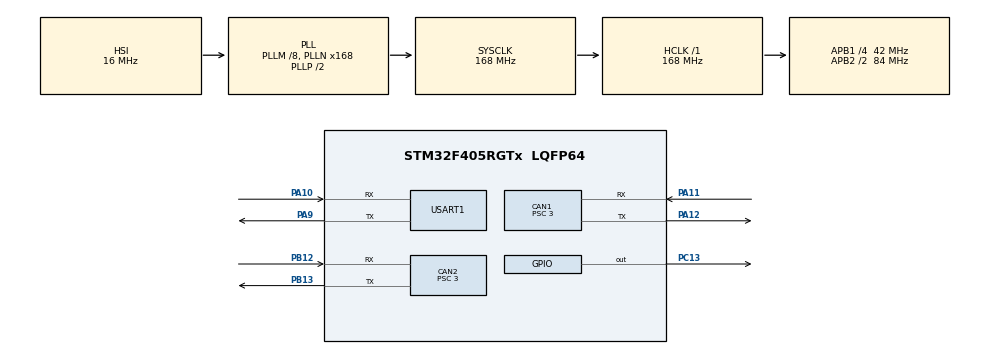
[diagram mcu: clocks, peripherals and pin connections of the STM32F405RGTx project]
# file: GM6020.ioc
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CAN1.BS1=CAN_BS1_9TQ
CAN1.BS2=CAN_BS2_4TQ
CAN1.CalculateBaudRate=1000000
CAN1.CalculateTimeBit=1000
CAN1.CalculateTimeQuantum=71.42857142857143
CAN1.Prescaler=3
CAN2.BS1=CAN_BS1_9TQ
CAN2.BS2=CAN_BS2_4TQ
CAN2.CalculateBaudRate=1000000
CAN2.CalculateTimeBit=1000
CAN2.CalculateTimeQuantum=71.42857142857143
CAN2.Prescaler=3
Dma.Request0=USART1_TX
Dma.Request1=USART1_RX
Dma.USART1_RX.1.Direction=DMA_PERIPH_TO_MEMORY
Dma.USART1_RX.1.FIFOMode=DMA_FIFOMODE_DISABLE
Dma.USART1_RX.1.Instance=DMA2_Stream2
Dma.USART1_RX.1.MemDataAlignment=DMA_MDATAALIGN_BYTE
Dma.USART1_RX.1.MemInc=DMA_MINC_ENABLE
Dma.USART1_RX.1.Mode=DMA_NORMAL
Dma.USART1_RX.1.PeriphDataAlignment=DMA_PDATAALIGN_BYTE
Dma.USART1_RX.1.PeriphInc=DMA_PINC_DISABLE
Dma.USART1_RX.1.Priority=DMA_PRIORITY_LOW
Dma.USART1_TX.0.Direction=DMA_MEMORY_TO_PERIPH
Dma.USART1_TX.0.FIFOMode=DMA_FIFOMODE_DISABLE
Dma.USART1_TX.0.Instance=DMA2_Stream7
Dma.USART1_TX.0.MemDataAlignment=DMA_MDATAALIGN_BYTE
Dma.USART1_TX.0.MemInc=DMA_MINC_ENABLE
Dma.USART1_TX.0.Mode=DMA_NORMAL
Dma.USART1_TX.0.PeriphDataAlignment=DMA_PDATAALIGN_BYTE
Dma.USART1_TX.0.PeriphInc=DMA_PINC_DISABLE
Dma.USART1_TX.0.Priority=DMA_PRIORITY_LOW
FREERTOS.Tasks01=motorTask,24,128,MotorTask,Default,NULL,Dynamic,NULL,NULL;usartTask,24,128,UsartTask,Default,NULL,Dynamic,NULL,NULL
Mcu.Family=STM32F4
Mcu.Name=STM32F405RGTx
Mcu.Package=LQFP64
NVIC.CAN1_RX0_IRQn=true\:5\:0\:false\:false\:true\:true\:true\:true\:true
NVIC.CAN1_RX1_IRQn=true\:5\:0\:false\:false\:true\:true\:true\:true\:true
NVIC.DMA2_Stream2_IRQn=true\:5\:0\:false\:false\:true\:true\:false\:true\:true
NVIC.DMA2_Stream7_IRQn=true\:5\:0\:false\:false\:true\:true\:false\:true\:true
NVIC.PriorityGroup=NVIC_PRIORITYGROUP_4
NVIC.TIM7_IRQn=true\:15\:0\:false\:false\:true\:false\:false\:true\:true
NVIC.TimeBase=TIM7_IRQn
NVIC.TimeBaseIP=TIM7
PA10.Mode=Asynchronous
PA10.Signal=USART1_RX
PA11.Mode=CAN_Activate
PA11.Signal=CAN1_RX
PA12.Mode=CAN_Activate
PA12.Signal=CAN1_TX
PA13.Mode=Serial_Wire
PA13.Signal=SYS_JTMS-SWDIO
PA14.Mode=Serial_Wire
PA14.Signal=SYS_JTCK-SWCLK
PA9.Mode=Asynchronous
PA9.Signal=USART1_TX
PB12.Mode=CAN_Activate
PB12.Signal=CAN2_RX
PB13.Mode=CAN_Activate
PB13.Signal=CAN2_TX
PC13-ANTI_TAMP.GPIO_PuPd=GPIO_PULLUP
PC13-ANTI_TAMP.PinState=GPIO_PIN_SET
PC13-ANTI_TAMP.Signal=GPIO_Output
PH0-OSC_IN.Mode=HSE-External-Oscillator
PH0-OSC_IN.Signal=RCC_OSC_IN
PH1-OSC_OUT.Mode=HSE-External-Oscillator
PH1-OSC_OUT.Signal=RCC_OSC_OUT
ProjectManager.HeapSize=0x200
ProjectManager.StackSize=0x400
ProjectManager.TargetToolchain=MDK-ARM V5.32
RCC.48MHZClocksFreq_Value=84000000
RCC.AHBFreq_Value=168000000
RCC.APB1CLKDivider=RCC_HCLK_DIV4
RCC.APB1Freq_Value=42000000
RCC.APB1TimFreq_Value=84000000
RCC.APB2CLKDivider=RCC_HCLK_DIV2
RCC.APB2Freq_Value=84000000
RCC.APB2TimFreq_Value=168000000
RCC.CortexFreq_Value=168000000
RCC.HCLKFreq_Value=168000000
RCC.HSE_VALUE=25000000
RCC.HSI_VALUE=16000000
RCC.LSE_VALUE=32768
RCC.PLLM=8
RCC.PLLN=168
RCC.SYSCLKFreq_VALUE=168000000
RCC.SYSCLKSource=RCC_SYSCLKSOURCE_PLLCLK
RCC.VCOOutputFreq_Value=336000000
USART1.VirtualMode=VM_ASYNC
VP_FREERTOS_VS_CMSIS_V2.Mode=CMSIS_V2
VP_SYS_VS_tim7.Mode=TIM7
board=custom

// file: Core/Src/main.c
/* USER CODE BEGIN Header */
/**
 ******************************************************************************
 * @file           : main.c
 * @brief          : Main program body
 ******************************************************************************
 * @attention
 *
 * Copyright (c) 2024 STMicroelectronics.
 * All rights reserved.
 *
 * This software is licensed under terms that can be found in the LICENSE file
 * in the root directory of this software component.
 * If no LICENSE file comes with this software, it is provided AS-IS.
 *
 ******************************************************************************
 */
/* USER CODE END Header */
#include "main.h"
#include "cmsis_os.h"
#include "can.h"
#include "dma.h"
#include "usart.h"
#include "gpio.h"

void SystemClock_Config(void);
void MX_FREERTOS_Init(void);

/* USER CODE BEGIN 0 */
/**
 * @brief CAN报文回调函数
 *
 * @param Rx_Buffer CAN接收的信息结构体
 */
void CAN_Motor_Call_Back(CAN_RxBuffer *Rx_Buffer)
{
  uint8_t *Rx_Data = Rx_Buffer->data;
  switch (Rx_Buffer->header.StdId)
  {
  case (0x207):
  {
    int16_t Delta_Encoder;
    motor.Pre_Encoder = motor.Rx_Encoder;
    // Tx_Data[0] = (Rx_Data[0] << 8) | Rx_Data[1];
    // Tx_Data[1] = (Rx_Data[2] << 8) | Rx_Data[3];
    // Tx_Data[2] = (Rx_Data[4] << 8) | Rx_Data[5];
    // Tx_Data[3] = Rx_Data[6];
    motor.Rx_Encoder = (Rx_Data[0] << 8) | Rx_Data[1];
    motor.Rx_RPM = (Rx_Data[2] << 8) | Rx_Data[3];
    motor.Rx_Torque = (Rx_Data[4] << 8) | Rx_Data[5];
    motor.Rx_Temp = Rx_Data[6];
    Delta_Encoder = motor.Rx_Encoder - motor.Pre_Encoder;
    if (Delta_Encoder < -4096)
    {
      // 正方向转过了一圈
      motor.Total_Round++;
    }
    else if (Delta_Encoder > 4096)
    {
      // 反方向转过了一圈
      motor.Total_Round--;
    }
    motor.Total_Encoder = motor.Total_Round * 8192.f + motor.Rx_Encoder;
  }
  }
}
/* USER CODE END 0 */

int main(void)
{

  /* MCU Configuration--------------------------------------------------------*/

  /* Reset of all peripherals, Initializes the Flash interface and the Systick. */
  HAL_Init();

  /* Configure the system clock */
  SystemClock_Config();

  /* Initialize all configured peripherals */
  MX_GPIO_Init();
  MX_DMA_Init();
  MX_CAN1_Init();
  MX_CAN2_Init();
  MX_USART1_UART_Init();
  /* USER CODE BEGIN 2 */
  CAN_Init(&hcan1, CAN_Motor_Call_Back);
  Uart_Init(&huart1, NULL, 0, NULL);
  CAN_Filter_Mask_Config(&hcan1, CanFilter(13) | CanFifo_1 | Can_STDID | Can_DataType, 0x207, 0x7FF);
  /* USER CODE END 2 */

  /* Init scheduler */
  osKernelInitialize(); /* Call init function for freertos objects (in freertos.c) */
  MX_FREERTOS_Init();

  /* Start scheduler */
  osKernelStart();
  /* We should never get here as control is now taken by the scheduler */
  /* Infinite loop */
  while (1)
  {

  }
}

void SystemClock_Config(void)
{
  RCC_OscInitTypeDef RCC_OscInitStruct = {0};
  RCC_ClkInitTypeDef RCC_ClkInitStruct = {0};

  /** Configure the main internal regulator output voltage
   */
  __HAL_RCC_PWR_CLK_ENABLE();
  __HAL_PWR_VOLTAGESCALING_CONFIG(PWR_REGULATOR_VOLTAGE_SCALE1);

  /** Initializes the RCC Oscillators according to the specified parameters
   * in the RCC_OscInitTypeDef structure.
   */
  RCC_OscInitStruct.OscillatorType = RCC_OSCILLATORTYPE_HSI;
  RCC_OscInitStruct.HSIState = RCC_HSI_ON;
  RCC_OscInitStruct.HSICalibrationValue = RCC_HSICALIBRATION_DEFAULT;
  RCC_OscInitStruct.PLL.PLLState = RCC_PLL_ON;
  RCC_OscInitStruct.PLL.PLLSource = RCC_PLLSOURCE_HSI;
  RCC_OscInitStruct.PLL.PLLM = 8;
  RCC_OscInitStruct.PLL.PLLN = 168;
  RCC_OscInitStruct.PLL.PLLP = RCC_PLLP_DIV2;
  RCC_OscInitStruct.PLL.PLLQ = 4;
  if (HAL_RCC_OscConfig(&RCC_OscInitStruct) != HAL_OK)
  {
    Error_Handler();
  }

  /** Initializes the CPU, AHB and APB buses clocks
   */
  RCC_ClkInitStruct.ClockType = RCC_CLOCKTYPE_HCLK | RCC_CLOCKTYPE_SYSCLK | RCC_CLOCKTYPE_PCLK1 | RCC_CLOCKTYPE_PCLK2;
  RCC_ClkInitStruct.SYSCLKSource = RCC_SYSCLKSOURCE_PLLCLK;
  RCC_ClkInitStruct.AHBCLKDivider = RCC_SYSCLK_DIV1;
  RCC_ClkInitStruct.APB1CLKDivider = RCC_HCLK_DIV4;
  RCC_ClkInitStruct.APB2CLKDivider = RCC_HCLK_DIV2;

  if (HAL_RCC_ClockConfig(&RCC_ClkInitStruct, FLASH_LATENCY_5) != HAL_OK)
  {
    Error_Handler();
  }
}

void HAL_TIM_PeriodElapsedCallback(TIM_HandleTypeDef *htim)
{
  if (htim->Instance == TIM7)
  {
    HAL_IncTick();
  }
}

void Error_Handler(void)
{
  __disable_irq();
  while (1)
  {
  }
}

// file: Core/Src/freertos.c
/* USER CODE BEGIN Header */
/**
 ******************************************************************************
 * File Name          : freertos.c
 * Description        : Code for freertos applications
 ******************************************************************************
 * @attention
 *
 * Copyright (c) 2024 STMicroelectronics.
 * All rights reserved.
 *
 * This software is licensed under terms that can be found in the LICENSE file
 * in the root directory of this software component.
 * If no LICENSE file comes with this software, it is provided AS-IS.
 *
 ******************************************************************************
 */
/* USER CODE END Header */

#include "FreeRTOS.h"
#include "task.h"
#include "main.h"
#include "cmsis_os.h"

/* USER CODE BEGIN Includes */
#include "usart.h"
/* USER CODE END Includes */

/* USER CODE BEGIN Variables */

float Target_RPM = 200;
float Now_RPM;
float Target_Angle = 180;
float Now_Angle;
/* USER CODE END Variables */
/* Definitions for motorTask */
osThreadId_t motorTaskHandle;
const osThreadAttr_t motorTask_attributes = {
    .name = "motorTask",
    .stack_size = 128 * 4,
    .priority = (osPriority_t)osPriorityNormal,
};
/* Definitions for usartTask */
osThreadId_t usartTaskHandle;
const osThreadAttr_t usartTask_attributes = {
    .name = "usartTask",
    .stack_size = 128 * 4,
    .priority = (osPriority_t)osPriorityNormal,
};

void MotorTask(void *argument);
void UsartTask(void *argument);

void MX_FREERTOS_Init(void); /* (MISRA C 2004 rule 8.1) */

void MX_FREERTOS_Init(void)
{

  /* Create the thread(s) */
  /* creation of motorTask */
  motorTaskHandle = osThreadNew(MotorTask, NULL, &motorTask_attributes);

  /* creation of usartTask */
  usartTaskHandle = osThreadNew(UsartTask, NULL, &usartTask_attributes);

}

void MotorTask(void *argument)
{
  /* USER CODE BEGIN MotorTask */
  int16_t Torque;
  float Angle_PID_Out;
  PID_Controller PID_Speed = {60, 0, 0};
  PID_Controller PID_Position = {3.5, 0.6, 7};
  PID_Speed.i_out = 0;
  PID_Speed.i_max = 15000;
  PID_Position.i_out = 0;
  PID_Position.i_max = 5;
  /* Infinite loop */
  for (;;)
  {
    Now_Angle = (float)motor.Total_Encoder / 8192.f * 360.f;
    Now_RPM = motor.Rx_RPM;
    Angle_PID_Out = PID_Calc(&PID_Position, Now_Angle, Target_Angle);
	// HAL_UART_Transmit(&huart1, (uint8_t *)&Angle_PID_Out, sizeof(float), HAL_MAX_DELAY);
    Torque = PID_Calc(&PID_Speed, Now_RPM, Angle_PID_Out);
    // Torque = PID_Calc(&PID_Speed, Now_RPM, Target_RPM);
    CAN1_0x1ff_Tx_Data[4] = Torque >> 8;
    CAN1_0x1ff_Tx_Data[5] = Torque;
    CANx_SendData(&hcan1, 0x1ff, CAN1_0x1ff_Tx_Data, 8);
    osDelay(5);
  }
  /* USER CODE END MotorTask */
}

void UsartTask(void *argument)
{
  /* USER CODE BEGIN UsartTask */
  /* Infinite loop */
  for (;;)
  {
    HAL_UART_Transmit(&huart1, (uint8_t *)&Target_Angle, sizeof(float), HAL_MAX_DELAY);
    HAL_UART_Transmit(&huart1, (uint8_t *)&Now_Angle, sizeof(float), HAL_MAX_DELAY);
    HAL_UART_Transmit(&huart1, tail, 4, 100);
    osDelay(5);
  }
  /* USER CODE END UsartTask */
}
